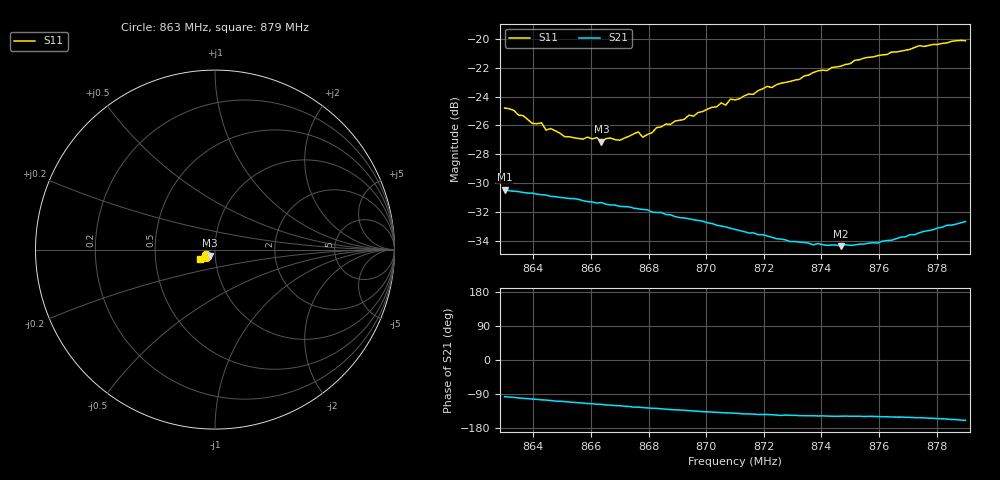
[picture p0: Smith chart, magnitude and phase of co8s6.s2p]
# HZ S RI R 50
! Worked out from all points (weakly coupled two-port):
!   101 points, 863 MHz to 879 MHz, reference 50 ohm
!   highest |S21| = -30.44 dB at 863 MHz (marker M1); lowest = -34.3 dB at 874.68 MHz (marker M2)
!   lowest |S11| = -27.1 dB at 866.36 MHz (marker M3), VSWR 1.09, Z = 47.1 - j3.12 ohm
!   |S11| at or under -10 dB: start of sweep to end of sweep
!   S12 and S22 are empty: the file has one direction only
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8.63e8  -0.0481 -0.0318  -0.00348 -0.0298  0 0  0 0
8.6332e8  -0.0469 -0.0315  -0.00439 -0.0294  0 0  0 0
8.6396e8  -0.0406 -0.0307  -0.0066 -0.0285  0 0  0 0
8.6428e8  -0.04 -0.032  -0.00754 -0.0279  0 0  0 0
8.6444e8  -0.0381 -0.0296  -0.00783 -0.0277  0 0  0 0
8.646e8  -0.0381 -0.0307  -0.00829 -0.0273  0 0  0 0
8.6508e8  -0.0341 -0.0307  -0.00946 -0.0265  0 0  0 0
8.6572e8  -0.0307 -0.0328  -0.0111 -0.0252  0 0  0 0
8.662e8  -0.0333 -0.0311  -0.0121 -0.0242  0 0  0 0
8.6636e8  -0.0291 -0.0331  -0.0124 -0.0242  0 0  0 0
8.6668e8  -0.0277 -0.0359  -0.013 -0.0232  0 0  0 0
8.67e8  -0.0265 -0.0358  -0.0135 -0.0226  0 0  0 0
8.6764e8  -0.0249 -0.0406  -0.0146 -0.0213  0 0  0 0
8.678e8  -0.024 -0.0388  -0.0149 -0.0209  0 0  0 0
8.6844e8  -0.0235 -0.0436  -0.0157 -0.0195  0 0  0 0
8.7068e8  -0.0267 -0.0525  -0.017 -0.0145  0 0  0 0
8.7084e8  -0.029 -0.0546  -0.0169 -0.0142  0 0  0 0
8.71e8  -0.0277 -0.0548  -0.0168 -0.014  0 0  0 0
8.7372e8  -0.0412 -0.0643  -0.0163 -0.0105  0 0  0 0
8.7468e8  -0.0486 -0.0639  -0.0163 -0.0101  0 0  0 0
8.7644e8  -0.0636 -0.0636  -0.0175 -0.00992  0 0  0 0
8.79e8  -0.0842 -0.0508  -0.0218 -0.00823  0 0  0 0
